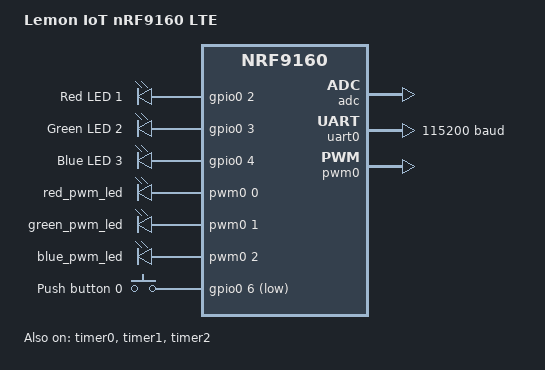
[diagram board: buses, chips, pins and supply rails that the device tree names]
/*
 * Copyright (c) 2018-2020 Nordic Semiconductor ASA
 *
 * SPDX-License-Identifier: Apache-2.0
 */
#include "nrf9160_lemon_iot_common-pinctrl.dtsi"

/ {
	model = "Lemon IoT nRF9160 LTE";
	compatible = "lemon,iot-nrf9160";

	chosen {
		zephyr,console = &uart0;
		zephyr,shell-uart = &uart0;
		zephyr,uart-mcumgr = &uart0;
	};

	leds {
		compatible = "gpio-leds";
		led0: led_0 {
			gpios = <&gpio0 2 0>;
			label = "Red LED 1";
		};
		led1: led_1 {
			gpios = <&gpio0 3 0>;
			label = "Green LED 2";
		};
		led2: led_2 {
			gpios = <&gpio0 4 0>;
			label = "Blue LED 3";
		};
	};

	pwmleds {
		compatible = "pwm-leds";
		red_pwm_led: pwm_led_0 {
			pwms = <&pwm0 0 PWM_MSEC(20) PWM_POLARITY_INVERTED>;
		};
		green_pwm_led: pwm_led_1 {
			pwms = <&pwm0 1 PWM_MSEC(20) PWM_POLARITY_INVERTED>;
		};
		blue_pwm_led: pwm_led_2 {
			pwms = <&pwm0 2 PWM_MSEC(20) PWM_POLARITY_INVERTED>;
		};
	};

	buttons {
		compatible = "gpio-keys";
		button0: button_0 {
			gpios = <&gpio0 6 (GPIO_PULL_UP | GPIO_ACTIVE_LOW)>;
			label = "Push button 0";
		};
	};

	/* These aliases are provided for compatibility with samples */
	aliases {
		led0 = &led0;
		led1 = &led1;
		led2 = &led2;
		pwm-led0 = &red_pwm_led;
		pwm-led1 = &green_pwm_led;
		pwm-led2 = &blue_pwm_led;
		red-pwm-led = &red_pwm_led;
		green-pwm-led = &green_pwm_led;
		blue-pwm-led = &blue_pwm_led;
		sw0 = &button0;
		bootloader-led0 = &led0;
		mcuboot-button0 = &button0;
		mcuboot-led0 = &led0;
		watchdog0 = &wdt0;
	};
};

&adc {
	status = "okay";
};

&gpiote {
	status = "okay";
};

&gpio0 {
	status = "okay";
};

&uart0 {
	status = "okay";
	current-speed = <115200>;
	pinctrl-0 = <&uart0_default>;
	pinctrl-1 = <&uart0_sleep>;
	pinctrl-names = "default", "sleep";
};

&pwm0 {
	status = "okay";
	pinctrl-0 = <&pwm0_default>;
	pinctrl-1 = <&pwm0_sleep>;
	pinctrl-names = "default", "sleep";
};

&timer0 {
	status = "okay";
};

&timer1 {
	status = "okay";
};

&timer2 {
	status = "okay";
};

&flash0 {

	partitions {
		compatible = "fixed-partitions";
		#address-cells = <1>;
		#size-cells = <1>;

		boot_partition: partition@0 {
			label = "mcuboot";
			reg = <0x00000000 0x10000>;
		};
		slot0_partition: partition@10000 {
			label = "image-0";
		};
		slot0_ns_partition: partition@50000 {
			label = "image-0-nonsecure";
		};
		slot1_partition: partition@80000 {
			label = "image-1";
		};
		slot1_ns_partition: partition@c0000 {
			label = "image-1-nonsecure";
		};
		scratch_partition: partition@f0000 {
			label = "image-scratch";
			reg = <0x000f0000 0xa000>;
		};
		storage_partition: partition@fa000 {
			label = "storage";
			reg = <0x000fa000 0x00006000>;
		};
	};
};

/ {

	reserved-memory {
		#address-cells = <1>;
		#size-cells = <1>;
		ranges;

		sram0_s: image_s@20000000 {
			/* Secure image memory */
		};

		sram0_modem: image_modem@20016000 {
			/* Modem (shared) memory */
		};

		sram0_ns: image_ns@20020000 {
			/* Non-Secure image memory */
		};
	};
};

/* Include partition configuration file */
#include "nrf9160_lemon_iot_partition_conf.dts"
